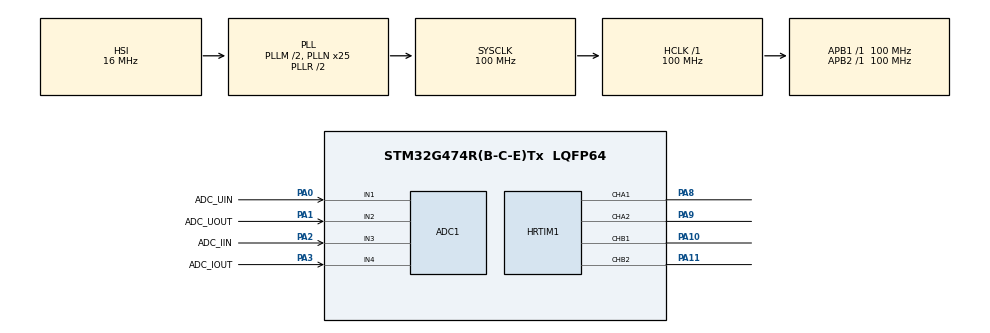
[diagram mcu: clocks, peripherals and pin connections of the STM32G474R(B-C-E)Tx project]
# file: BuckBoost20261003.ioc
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ADC1.Channel-0\#ChannelRegularConversion=ADC_CHANNEL_VREFINT
ADC1.Channel-1\#ChannelRegularConversion=ADC_CHANNEL_1
ADC1.Channel-2\#ChannelRegularConversion=ADC_CHANNEL_2
ADC1.Channel-3\#ChannelRegularConversion=ADC_CHANNEL_3
ADC1.Channel-4\#ChannelRegularConversion=ADC_CHANNEL_4
ADC1.ExternalTrigConv=ADC_EXTERNALTRIG_HRTIM_TRG1
ADC1.NbrOfConversion=5
ADC1.NbrOfConversionFlag=1
ADC1.OffsetNumber-0\#ChannelRegularConversion=ADC_OFFSET_NONE
ADC1.OffsetNumber-1\#ChannelRegularConversion=ADC_OFFSET_NONE
ADC1.OffsetNumber-2\#ChannelRegularConversion=ADC_OFFSET_NONE
ADC1.OffsetNumber-3\#ChannelRegularConversion=ADC_OFFSET_NONE
ADC1.OffsetNumber-4\#ChannelRegularConversion=ADC_OFFSET_NONE
ADC1.Rank-0\#ChannelRegularConversion=1
ADC1.Rank-1\#ChannelRegularConversion=2
ADC1.Rank-2\#ChannelRegularConversion=3
ADC1.Rank-3\#ChannelRegularConversion=4
ADC1.Rank-4\#ChannelRegularConversion=5
ADC1.SamplingTime-0\#ChannelRegularConversion=ADC_SAMPLETIME_640CYCLES_5
ADC1.SamplingTime-1\#ChannelRegularConversion=ADC_SAMPLETIME_640CYCLES_5
ADC1.SamplingTime-2\#ChannelRegularConversion=ADC_SAMPLETIME_640CYCLES_5
ADC1.SamplingTime-3\#ChannelRegularConversion=ADC_SAMPLETIME_640CYCLES_5
ADC1.SamplingTime-4\#ChannelRegularConversion=ADC_SAMPLETIME_640CYCLES_5
ADC1.master=1
Dma.ADC1.0.Direction=DMA_PERIPH_TO_MEMORY
Dma.ADC1.0.EventEnable=DISABLE
Dma.ADC1.0.Instance=DMA1_Channel1
Dma.ADC1.0.MemDataAlignment=DMA_MDATAALIGN_HALFWORD
Dma.ADC1.0.MemInc=DMA_MINC_ENABLE
Dma.ADC1.0.Mode=DMA_CIRCULAR
Dma.ADC1.0.PeriphDataAlignment=DMA_PDATAALIGN_HALFWORD
Dma.ADC1.0.PeriphInc=DMA_PINC_DISABLE
Dma.ADC1.0.Polarity=HAL_DMAMUX_REQ_GEN_RISING
Dma.ADC1.0.Priority=DMA_PRIORITY_LOW
Dma.ADC1.0.RequestNumber=1
Dma.ADC1.0.SignalID=NONE
Dma.ADC1.0.SyncEnable=DISABLE
Dma.ADC1.0.SyncPolarity=HAL_DMAMUX_SYNC_NO_EVENT
Dma.ADC1.0.SyncRequestNumber=1
Dma.ADC1.0.SyncSignalID=NONE
Dma.Request0=ADC1
HRTIM1.ADCTrigger1_Source1=HRTIM_ADCTRIGGEREVENT13_MASTER_PERIOD
HRTIM1.ADCTrigger_Id1=HRTIM_ADCTRIGGER_1
HRTIM1.CompareUnit1-MasterTimer=HRTIM_COMPAREUNIT_1
HRTIM1.CompareUnit2-MasterTimer=HRTIM_COMPAREUNIT_2
HRTIM1.CompareUnit3-MasterTimer=__NULL
HRTIM1.CompareValue1-MasterTimer=5000
HRTIM1.CompareValue2-MasterTimer=5000
HRTIM1.DeadTimeInsertion-Output_TA1TA2=HRTIM_TIMDEADTIMEINSERTION_ENABLED
HRTIM1.DeadTimeInsertion-Output_TB1TB2=HRTIM_TIMDEADTIMEINSERTION_ENABLED
HRTIM1.FallingValue-Output_TA1TA2=200
HRTIM1.FallingValue-Output_TB1TB2=200
HRTIM1.NumberADCTriggerSource1=1
HRTIM1.NumberResetSource1-Output_TA1TA2=1
HRTIM1.NumberResetSource1-Output_TB1TB2=1
HRTIM1.NumberResetTrigger-Output_TA1TA2=1
HRTIM1.NumberResetTrigger-Output_TB1TB2=1
HRTIM1.NumberSetSource1-Output_TA1TA2=1
HRTIM1.NumberSetSource1-Output_TB1TB2=1
HRTIM1.Periode_MASTER=10000
HRTIM1.Periode_TA=10000
HRTIM1.Periode_TB=10000
HRTIM1.PreloadEnable-MasterTimer=HRTIM_PRELOAD_ENABLED
HRTIM1.PreloadEnable-Output_TA1TA2=HRTIM_PRELOAD_ENABLED
HRTIM1.PreloadEnable-Output_TB1TB2=HRTIM_PRELOAD_ENABLED
HRTIM1.PrescalerDead-Output_TA1TA2=HRTIM_TIMDEADTIME_PRESCALERRATIO_DIV1
HRTIM1.PrescalerDead-Output_TB1TB2=HRTIM_TIMDEADTIME_PRESCALERRATIO_DIV1
HRTIM1.PrescalerRatio_MASTER=HRTIM_PRESCALERRATIO_DIV1
HRTIM1.PrescalerRatio_TA=HRTIM_PRESCALERRATIO_DIV1
HRTIM1.PrescalerRatio_TB=HRTIM_PRESCALERRATIO_DIV1
HRTIM1.RepetitionUpdate-MasterTimer=HRTIM_UPDATEONREPETITION_ENABLED
HRTIM1.RepetitionUpdate-Output_TA1TA2=HRTIM_UPDATEONREPETITION_ENABLED
HRTIM1.RepetitionUpdate-Output_TB1TB2=HRTIM_UPDATEONREPETITION_ENABLED
HRTIM1.ResetOutput1_Source1-Output_TA1TA2=HRTIM_OUTPUTRESET_MASTERCMP2
HRTIM1.ResetOutput1_Source1-Output_TB1TB2=HRTIM_OUTPUTRESET_MASTERCMP1
HRTIM1.ResetTrigger1-Output_TA1TA2=HRTIM_TIMRESETTRIGGER_MASTER_PER
HRTIM1.ResetTrigger1-Output_TB1TB2=HRTIM_TIMRESETTRIGGER_MASTER_PER
HRTIM1.RisingValue-Output_TA1TA2=200
HRTIM1.RisingValue-Output_TB1TB2=200
HRTIM1.SetOutput1_Source1-Output_TA1TA2=HRTIM_OUTPUTSET_MASTERCMP1
HRTIM1.SetOutput1_Source1-Output_TB1TB2=HRTIM_OUTPUTSET_MASTERCMP2
Mcu.Family=STM32G4
Mcu.Name=STM32G474R(B-C-E)Tx
Mcu.Package=LQFP64
NVIC.DMA1_Channel1_IRQn=true\:0\:0\:false\:false\:true\:false\:true\:true
NVIC.HRTIM1_Master_IRQn=true\:0\:0\:false\:false\:true\:true\:true\:true
NVIC.PriorityGroup=NVIC_PRIORITYGROUP_4
PA0.GPIO_Label=ADC_UIN
PA0.Mode=IN1-Single-Ended
PA0.Signal=ADC1_IN1
PA1.GPIO_Label=ADC_UOUT
PA1.Mode=IN2-Single-Ended
PA1.Signal=ADC1_IN2
PA10.Mode=Output_TB1TB2
PA10.Signal=HRTIM1_CHB1
PA11.Mode=Output_TB1TB2
PA11.Signal=HRTIM1_CHB2
PA13.Mode=Serial_Wire
PA13.Signal=SYS_JTMS-SWDIO
PA14.Mode=Serial_Wire
PA14.Signal=SYS_JTCK-SWCLK
PA2.GPIO_Label=ADC_IIN
PA2.Mode=IN3-Single-Ended
PA2.Signal=ADC1_IN3
PA3.GPIO_Label=ADC_IOUT
PA3.Mode=IN4-Single-Ended
PA3.Signal=ADC1_IN4
PA8.Mode=Output_TA1TA2
PA8.Signal=HRTIM1_CHA1
PA9.Mode=Output_TA1TA2
PA9.Signal=HRTIM1_CHA2
ProjectManager.HeapSize=0x200
ProjectManager.StackSize=0x400
ProjectManager.TargetToolchain=STM32CubeIDE
RCC.ADC12Freq_Value=100000000
RCC.ADC345Freq_Value=100000000
RCC.AHBFreq_Value=100000000
RCC.APB1Freq_Value=100000000
RCC.APB1TimFreq_Value=100000000
RCC.APB2Freq_Value=100000000
RCC.APB2TimFreq_Value=100000000
RCC.CortexFreq_Value=100000000
RCC.EXTERNAL_CLOCK_VALUE=12288000
RCC.HCLKFreq_Value=100000000
RCC.HSE_VALUE=8000000
RCC.HSI48_VALUE=48000000
RCC.HSI_VALUE=16000000
RCC.LSE_VALUE=32768
RCC.PLLM=RCC_PLLM_DIV2
RCC.PLLN=25
RCC.SYSCLKFreq_VALUE=100000000
RCC.SYSCLKSource=RCC_SYSCLKSOURCE_PLLCLK
RCC.USBFreq_Value=100000000
RCC.VCOOutputFreq_Value=200000000
VP_ADC1_Vref_Input.Mode=IN-Vrefint
VP_HRTIM1_VS_hrtimMasterTimerNoOutput.Mode=MasterTimer
VP_SYS_VS_DBSignals.Mode=DisableDeadBatterySignals
board=custom

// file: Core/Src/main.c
/* USER CODE BEGIN Header */
/**
 ******************************************************************************
 * @file           : main.c
 * @brief          : Main program body
 ******************************************************************************
 * @attention
 *
 * Copyright (c) 2026 STMicroelectronics.
 * All rights reserved.
 *
 * This software is licensed under terms that can be found in the LICENSE file
 * in the root directory of this software component.
 * If no LICENSE file comes with this software, it is provided AS-IS.
 *
 ******************************************************************************
 */
/* USER CODE END Header */
#include "main.h"
#include "adc.h"
#include "dma.h"
#include "hrtim.h"
#include "gpio.h"
/* USER CODE BEGIN Includes */
#include "config_hrtim.h"
#include "config_adc.h"
#include "cv_cc.h"
#include "sliding_filter.h"
#include "kalman.h"
/* USER CODE END Includes */

void SystemClock_Config(void);
/* USER CODE BEGIN PFP */

typedef struct {
    float voltage;
    float current;
    float power;
} Power_t;
Power_t in, out;

Kalman_t kalman[5];
Sliding_Filter_t sliding_filter[5];

CV_CC_t cv_cc;

/* USER CODE END PFP */

/* USER CODE BEGIN 0 */
void set_pwm(float pwm) {
    CHRTIM_Compare_Set(HRTIM_TIMERINDEX_MASTER, HRTIM_COMPAREUNIT_1, 5000 * (1 - pwm));
    CHRTIM_Compare_Set(HRTIM_TIMERINDEX_MASTER, HRTIM_COMPAREUNIT_2, 5000 * (1 + pwm));
}
void ADC_IT_cbk(ADC_HandleTypeDef* hadc) {
    if (hadc == &hadc1) {

        // 校准电压和电流，得到引脚上的电压值(mv)
        CADC_Calibrate_VDDA();
        in.voltage  = CADC_Calibrate_mv(adc_dma_buffer[1]);
        out.voltage = CADC_Calibrate_mv(adc_dma_buffer[2]);
        in.current  = CADC_Calibrate_mv(adc_dma_buffer[3]);
        out.current = CADC_Calibrate_mv(adc_dma_buffer[4]);

        // 滤波
        in.voltage  = Sliding_Filter_Update(&sliding_filter[1], Kalman_Update(&kalman[1], in.voltage));
        out.voltage = Sliding_Filter_Update(&sliding_filter[2], Kalman_Update(&kalman[2], out.voltage));
        in.current  = Sliding_Filter_Update(&sliding_filter[3], Kalman_Update(&kalman[3], in.current));
        out.current = Sliding_Filter_Update(&sliding_filter[4], Kalman_Update(&kalman[4], out.current));

        // 拟合
        in.voltage  = in.voltage * 1.0f + 0.0f;
        out.voltage = out.voltage * 1.0f + 0.0f;
        in.current  = (in.current - 1650) * 1.0f + 0.0f;
        out.current = (out.current - 1650) * 1.0f + 0.0f;

        // 计算功率
        in.power  = in.voltage * in.current;
        out.power = out.voltage * out.current;

        // 控制输出
        CV_CC_Update(&cv_cc, out.voltage, out.current, target_voltage, target_current);
        set_pwm(cv_cc.out);
    }
}
/* USER CODE END 0 */

int main(void) {

    /* MCU Configuration--------------------------------------------------------*/

    /* Reset of all peripherals, Initializes the Flash interface and the Systick. */
    HAL_Init();

    /* Configure the system clock */
    SystemClock_Config();

    /* Initialize all configured peripherals */
    MX_GPIO_Init();
    MX_DMA_Init();
    MX_ADC1_Init();
    MX_HRTIM1_Init();
    /* USER CODE BEGIN 2 */

    CADC_Calibration_Start();
    CADC_Start_DMA();

    ADC_IT_Callbacks_t cbks = {.conv_cplt_cbk = ADC_IT_cbk, .conv_half_cplt_cbk = NULL};
    ADC_IT_Callbacks_Register(&cbks);

    CHRTIM_Timer_Start(HRTIM_TIMERID_MASTER | HRTIM_TIMERID_TIMER_A | HRTIM_TIMERID_TIMER_B);
    CHRTIM_Output_Start(HRTIM_OUTPUTID_TIMER_A | HRTIM_OUTPUTID_TIMER_B);

    CV_CC_Init(&cv_cc, 0.002, 0.0055, 0.002, 0.0055, 0.5f, 0.1f, 0.9f, 0.5f);

    /* USER CODE END 2 */

    /* Infinite loop */
    while (1) {

    }
}

void SystemClock_Config(void) {
    RCC_OscInitTypeDef RCC_OscInitStruct = {0};
    RCC_ClkInitTypeDef RCC_ClkInitStruct = {0};

    /** Configure the main internal regulator output voltage
     */
    HAL_PWREx_ControlVoltageScaling(PWR_REGULATOR_VOLTAGE_SCALE1);

    /** Initializes the RCC Oscillators according to the specified parameters
     * in the RCC_OscInitTypeDef structure.
     */
    RCC_OscInitStruct.OscillatorType      = RCC_OSCILLATORTYPE_HSI;
    RCC_OscInitStruct.HSIState            = RCC_HSI_ON;
    RCC_OscInitStruct.HSICalibrationValue = RCC_HSICALIBRATION_DEFAULT;
    RCC_OscInitStruct.PLL.PLLState        = RCC_PLL_ON;
    RCC_OscInitStruct.PLL.PLLSource       = RCC_PLLSOURCE_HSI;
    RCC_OscInitStruct.PLL.PLLM            = RCC_PLLM_DIV2;
    RCC_OscInitStruct.PLL.PLLN            = 25;
    RCC_OscInitStruct.PLL.PLLP            = RCC_PLLP_DIV2;
    RCC_OscInitStruct.PLL.PLLQ            = RCC_PLLQ_DIV2;
    RCC_OscInitStruct.PLL.PLLR            = RCC_PLLR_DIV2;
    if (HAL_RCC_OscConfig(&RCC_OscInitStruct) != HAL_OK) {
        Error_Handler();
    }

    /** Initializes the CPU, AHB and APB buses clocks
     */
    RCC_ClkInitStruct.ClockType = RCC_CLOCKTYPE_HCLK | RCC_CLOCKTYPE_SYSCLK | RCC_CLOCKTYPE_PCLK1 | RCC_CLOCKTYPE_PCLK2;
    RCC_ClkInitStruct.SYSCLKSource   = RCC_SYSCLKSOURCE_PLLCLK;
    RCC_ClkInitStruct.AHBCLKDivider  = RCC_SYSCLK_DIV1;
    RCC_ClkInitStruct.APB1CLKDivider = RCC_HCLK_DIV1;
    RCC_ClkInitStruct.APB2CLKDivider = RCC_HCLK_DIV1;

    if (HAL_RCC_ClockConfig(&RCC_ClkInitStruct, FLASH_LATENCY_3) != HAL_OK) {
        Error_Handler();
    }
}

void Error_Handler(void) {
    __disable_irq();
    while (1) {
    }
}
